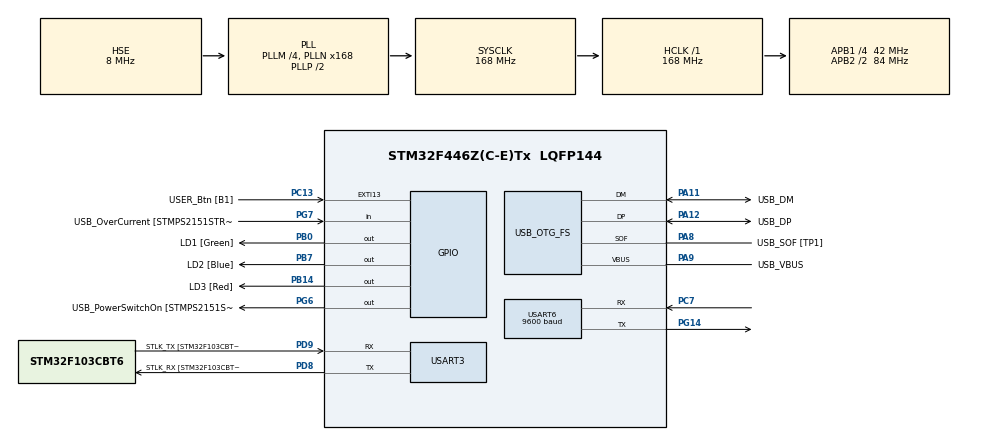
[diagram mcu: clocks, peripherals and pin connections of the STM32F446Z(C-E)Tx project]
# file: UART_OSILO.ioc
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Mcu.Family=STM32F4
Mcu.Name=STM32F446Z(C-E)Tx
Mcu.Package=LQFP144
NVIC.PriorityGroup=NVIC_PRIORITYGROUP_4
PA10.GPIO_Label=USB_ID
PA10.Signal=USB_OTG_FS_ID
PA11.GPIO_Label=USB_DM
PA11.Mode=Device_Only
PA11.Signal=USB_OTG_FS_DM
PA12.GPIO_Label=USB_DP
PA12.Mode=Device_Only
PA12.Signal=USB_OTG_FS_DP
PA13.GPIO_Label=TMS
PA13.Mode=Serial_Wire
PA13.Signal=SYS_JTMS-SWDIO
PA14.GPIO_Label=TCK
PA14.Mode=Serial_Wire
PA14.Signal=SYS_JTCK-SWCLK
PA8.GPIO_Label=USB_SOF [TP1]
PA8.Mode=Activate_SOF_FS
PA8.Signal=USB_OTG_FS_SOF
PA9.GPIO_Label=USB_VBUS
PA9.Mode=Activate_VBUS
PA9.Signal=USB_OTG_FS_VBUS
PB0.GPIO_Label=LD1 [Green]
PB0.Signal=GPIO_Output
PB14.GPIO_Label=LD3 [Red]
PB14.Signal=GPIO_Output
PB7.GPIO_Label=LD2 [Blue]
PB7.Signal=GPIO_Output
PC13.GPIO_Label=USER_Btn [B1]
PC13.Signal=GPXTI13
PC14-OSC32_IN.Mode=LSE-External-Oscillator
PC14-OSC32_IN.Signal=RCC_OSC32_IN
PC15-OSC32_OUT.Mode=LSE-External-Oscillator
PC15-OSC32_OUT.Signal=RCC_OSC32_OUT
PC7.Mode=Asynchronous
PC7.Signal=USART6_RX
PD8.GPIO_Label=STLK_RX [STM32F103CBT6_PA3]
PD8.Mode=Asynchronous
PD8.Signal=USART3_TX
PD9.GPIO_Label=STLK_TX [STM32F103CBT6_PA2]
PD9.Mode=Asynchronous
PD9.Signal=USART3_RX
PG14.Mode=Asynchronous
PG14.Signal=USART6_TX
PG6.GPIO_Label=USB_PowerSwitchOn [STMPS2151STR_EN]
PG6.Signal=GPIO_Output
PG7.GPIO_Label=USB_OverCurrent [STMPS2151STR_FAULT]
PG7.Signal=GPIO_Input
PH0-OSC_IN.GPIO_Label=MCO [STM32F103CBT6_PA8]
PH0-OSC_IN.Mode=HSE-External-Clock-Source
PH0-OSC_IN.Signal=RCC_OSC_IN
PH1-OSC_OUT.Mode=HSE-External-Clock-Source
PH1-OSC_OUT.Signal=RCC_OSC_OUT
ProjectManager.HeapSize=0x200
ProjectManager.StackSize=0x400
ProjectManager.TargetToolchain=CMake
RCC.48MHZClocksFreq_Value=24000000
RCC.AHBFreq_Value=168000000
RCC.APB1CLKDivider=RCC_HCLK_DIV4
RCC.APB1Freq_Value=42000000
RCC.APB1TimFreq_Value=84000000
RCC.APB2CLKDivider=RCC_HCLK_DIV2
RCC.APB2Freq_Value=84000000
RCC.APB2TimFreq_Value=168000000
RCC.CortexFreq_Value=168000000
RCC.HCLKFreq_Value=168000000
RCC.HSE_VALUE=8000000
RCC.HSI_VALUE=16000000
RCC.PLLM=4
RCC.PLLMUL=RCC_PLL_MUL9
RCC.PLLN=168
RCC.PLLQ=7
RCC.PRESCALERUSB=RCC_USBCLKSOURCE_PLL_DIV1_5
RCC.SYSCLKFreq_VALUE=168000000
RCC.SYSCLKSource=RCC_SYSCLKSOURCE_PLLCLK
RCC.SYSCLKSourceVirtual=RCC_SYSCLKSOURCE_PLLCLK
RCC.USBFreq_Value=48000000
RCC.VCOOutputFreq_Value=336000000
USART3.VirtualMode=VM_ASYNC
USART6.BaudRate=9600
USART6.VirtualMode=VM_ASYNC
USB_OTG_FS.VirtualMode=Device_Only
board=NUCLEO-F446ZE

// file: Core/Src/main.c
/* USER CODE BEGIN Header */
/**
  ******************************************************************************
  * @file           : main.c
  * @brief          : Main program body
  ******************************************************************************
  * @attention
  *
  * Copyright (c) 2026 STMicroelectronics.
  * All rights reserved.
  *
  * This software is licensed under terms that can be found in the LICENSE file
  * in the root directory of this software component.
  * If no LICENSE file comes with this software, it is provided AS-IS.
  *
  ******************************************************************************
  */
/* USER CODE END Header */
#include "main.h"

UART_HandleTypeDef huart3;
UART_HandleTypeDef huart6;

PCD_HandleTypeDef hpcd_USB_OTG_FS;

void SystemClock_Config(void);
static void MX_GPIO_Init(void);
static void MX_USART3_UART_Init(void);
static void MX_USART6_UART_Init(void);
static void MX_USB_OTG_FS_PCD_Init(void);

/* USER CODE BEGIN 0 */
/*
 * 1바이트를 비트 단위 문자열로 만들어 줌. 예) 'A' ->
 *   "A 0x41 bin:01000001 wire:0 10000010 1\r\n"
 *   - bin  : 사람이 읽는 순서 (MSB -> LSB)
 *   - wire : 실제 선(PG14)에 나가는 순서 = Start(0) + LSB부터 8비트 + Stop(1)
 *            -> 오실로스코프 화면 왼쪽부터 보이는 순서와 같음
 * 반환값: 만든 문자열 길이
 */
static uint16_t make_bit_string(uint8_t data, char *buf)
{
  static const char hex[] = "0123456789ABCDEF";
  uint16_t n = 0;

  buf[n++] = (data >= 0x20 && data < 0x7F) ? (char)data : '.';   // 출력 가능한 문자만
  buf[n++] = ' ';
  buf[n++] = '0'; buf[n++] = 'x';
  buf[n++] = hex[data >> 4];
  buf[n++] = hex[data & 0x0F];

  const char *t1 = " bin:";
  while (*t1) buf[n++] = *t1++;
  for (int i = 7; i >= 0; i--)                 // MSB -> LSB
    buf[n++] = ((data >> i) & 1) ? '1' : '0';

  const char *t2 = " wire:0 ";                 // Start 비트
  while (*t2) buf[n++] = *t2++;
  for (int i = 0; i < 8; i++)                  // LSB -> MSB (실제 전송 순서)
    buf[n++] = ((data >> i) & 1) ? '1' : '0';
  buf[n++] = ' ';
  buf[n++] = '1';                              // Stop 비트

  buf[n++] = '\r';
  buf[n++] = '\n';
  return n;
}

/* USER CODE END 0 */

int main(void)
{

  /* MCU Configuration--------------------------------------------------------*/

  /* Reset of all peripherals, Initializes the Flash interface and the Systick. */
  HAL_Init();

  /* Configure the system clock */
  SystemClock_Config();

  /* Initialize all configured peripherals */
  MX_GPIO_Init();
  MX_USART3_UART_Init();
  MX_USART6_UART_Init();
  MX_USB_OTG_FS_PCD_Init();

  /* Infinite loop */
  /* USER CODE BEGIN WHILE */

  uint8_t ch = 'A';                 // 오실로스코프용: 1바이트만 (파형 보기 깔끔하게)
  char msg[64];                     // 시리얼 모니터용: 비트 단위 문자열
  uint16_t len = make_bit_string(ch, msg);
  while (1)
  {
    /* USER CODE END WHILE */

    /* USER CODE BEGIN 3 */
    HAL_UART_Transmit(&huart6, &ch, 1, 100);                  // USART6 (PG14 = D1) 9600bps -> 오실로스코프
    HAL_UART_Transmit(&huart3, (uint8_t *)msg, len, 100);     // USART3 (ST-LINK VCP) 115200bps -> PC 시리얼 모니터
    HAL_Delay(10);
  }
  /* USER CODE END 3 */
}

void SystemClock_Config(void)
{
  RCC_OscInitTypeDef RCC_OscInitStruct = {0};
  RCC_ClkInitTypeDef RCC_ClkInitStruct = {0};

  /** Configure the main internal regulator output voltage
  */
  __HAL_RCC_PWR_CLK_ENABLE();
  __HAL_PWR_VOLTAGESCALING_CONFIG(PWR_REGULATOR_VOLTAGE_SCALE1);

  /** Initializes the RCC Oscillators according to the specified parameters
  * in the RCC_OscInitTypeDef structure.
  */
  RCC_OscInitStruct.OscillatorType = RCC_OSCILLATORTYPE_HSE;
  RCC_OscInitStruct.HSEState = RCC_HSE_BYPASS;
  RCC_OscInitStruct.PLL.PLLState = RCC_PLL_ON;
  RCC_OscInitStruct.PLL.PLLSource = RCC_PLLSOURCE_HSE;
  RCC_OscInitStruct.PLL.PLLM = 4;
  RCC_OscInitStruct.PLL.PLLN = 168;
  RCC_OscInitStruct.PLL.PLLP = RCC_PLLP_DIV2;
  RCC_OscInitStruct.PLL.PLLQ = 7;
  RCC_OscInitStruct.PLL.PLLR = 2;
  if (HAL_RCC_OscConfig(&RCC_OscInitStruct) != HAL_OK)
  {
    Error_Handler();
  }

  /** Initializes the CPU, AHB and APB buses clocks
  */
  RCC_ClkInitStruct.ClockType = RCC_CLOCKTYPE_HCLK|RCC_CLOCKTYPE_SYSCLK
                              |RCC_CLOCKTYPE_PCLK1|RCC_CLOCKTYPE_PCLK2;
  RCC_ClkInitStruct.SYSCLKSource = RCC_SYSCLKSOURCE_PLLCLK;
  RCC_ClkInitStruct.AHBCLKDivider = RCC_SYSCLK_DIV1;
  RCC_ClkInitStruct.APB1CLKDivider = RCC_HCLK_DIV4;
  RCC_ClkInitStruct.APB2CLKDivider = RCC_HCLK_DIV2;

  if (HAL_RCC_ClockConfig(&RCC_ClkInitStruct, FLASH_LATENCY_5) != HAL_OK)
  {
    Error_Handler();
  }
}

static void MX_USART3_UART_Init(void)
{

  huart3.Instance = USART3;
  huart3.Init.BaudRate = 115200;
  huart3.Init.WordLength = UART_WORDLENGTH_8B;
  huart3.Init.StopBits = UART_STOPBITS_1;
  huart3.Init.Parity = UART_PARITY_NONE;
  huart3.Init.Mode = UART_MODE_TX_RX;
  huart3.Init.HwFlowCtl = UART_HWCONTROL_NONE;
  huart3.Init.OverSampling = UART_OVERSAMPLING_16;
  if (HAL_UART_Init(&huart3) != HAL_OK)
  {
    Error_Handler();
  }

}

static void MX_USART6_UART_Init(void)
{

  huart6.Instance = USART6;
  huart6.Init.BaudRate = 9600;
  huart6.Init.WordLength = UART_WORDLENGTH_8B;
  huart6.Init.StopBits = UART_STOPBITS_1;
  huart6.Init.Parity = UART_PARITY_NONE;
  huart6.Init.Mode = UART_MODE_TX_RX;
  huart6.Init.HwFlowCtl = UART_HWCONTROL_NONE;
  huart6.Init.OverSampling = UART_OVERSAMPLING_16;
  if (HAL_UART_Init(&huart6) != HAL_OK)
  {
    Error_Handler();
  }

}

static void MX_USB_OTG_FS_PCD_Init(void)
{

  hpcd_USB_OTG_FS.Instance = USB_OTG_FS;
  hpcd_USB_OTG_FS.Init.dev_endpoints = 6;
  hpcd_USB_OTG_FS.Init.speed = PCD_SPEED_FULL;
  hpcd_USB_OTG_FS.Init.dma_enable = DISABLE;
  hpcd_USB_OTG_FS.Init.phy_itface = PCD_PHY_EMBEDDED;
  hpcd_USB_OTG_FS.Init.Sof_enable = ENABLE;
  hpcd_USB_OTG_FS.Init.low_power_enable = DISABLE;
  hpcd_USB_OTG_FS.Init.lpm_enable = DISABLE;
  hpcd_USB_OTG_FS.Init.vbus_sensing_enable = ENABLE;
  hpcd_USB_OTG_FS.Init.use_dedicated_ep1 = DISABLE;
  if (HAL_PCD_Init(&hpcd_USB_OTG_FS) != HAL_OK)
  {
    Error_Handler();
  }

}

static void MX_GPIO_Init(void)
{
  GPIO_InitTypeDef GPIO_InitStruct = {0};

  /* GPIO Ports Clock Enable */
  __HAL_RCC_GPIOC_CLK_ENABLE();
  __HAL_RCC_GPIOH_CLK_ENABLE();
  __HAL_RCC_GPIOB_CLK_ENABLE();
  __HAL_RCC_GPIOD_CLK_ENABLE();
  __HAL_RCC_GPIOG_CLK_ENABLE();
  __HAL_RCC_GPIOA_CLK_ENABLE();

  /*Configure GPIO pin Output Level */
  HAL_GPIO_WritePin(GPIOB, LD1_Pin|LD3_Pin|LD2_Pin, GPIO_PIN_RESET);

  /*Configure GPIO pin Output Level */
  HAL_GPIO_WritePin(USB_PowerSwitchOn_GPIO_Port, USB_PowerSwitchOn_Pin, GPIO_PIN_RESET);

  /*Configure GPIO pin : USER_Btn_Pin */
  GPIO_InitStruct.Pin = USER_Btn_Pin;
  GPIO_InitStruct.Mode = GPIO_MODE_IT_RISING;
  GPIO_InitStruct.Pull = GPIO_NOPULL;
  HAL_GPIO_Init(USER_Btn_GPIO_Port, &GPIO_InitStruct);

  /*Configure GPIO pins : LD1_Pin LD3_Pin LD2_Pin */
  GPIO_InitStruct.Pin = LD1_Pin|LD3_Pin|LD2_Pin;
  GPIO_InitStruct.Mode = GPIO_MODE_OUTPUT_PP;
  GPIO_InitStruct.Pull = GPIO_NOPULL;
  GPIO_InitStruct.Speed = GPIO_SPEED_FREQ_LOW;
  HAL_GPIO_Init(GPIOB, &GPIO_InitStruct);

  /*Configure GPIO pin : USB_PowerSwitchOn_Pin */
  GPIO_InitStruct.Pin = USB_PowerSwitchOn_Pin;
  GPIO_InitStruct.Mode = GPIO_MODE_OUTPUT_PP;
  GPIO_InitStruct.Pull = GPIO_NOPULL;
  GPIO_InitStruct.Speed = GPIO_SPEED_FREQ_LOW;
  HAL_GPIO_Init(USB_PowerSwitchOn_GPIO_Port, &GPIO_InitStruct);

  /*Configure GPIO pin : USB_OverCurrent_Pin */
  GPIO_InitStruct.Pin = USB_OverCurrent_Pin;
  GPIO_InitStruct.Mode = GPIO_MODE_INPUT;
  GPIO_InitStruct.Pull = GPIO_NOPULL;
  HAL_GPIO_Init(USB_OverCurrent_GPIO_Port, &GPIO_InitStruct);

}

void Error_Handler(void)
{
  __disable_irq();
  while (1)
  {
  }
}
